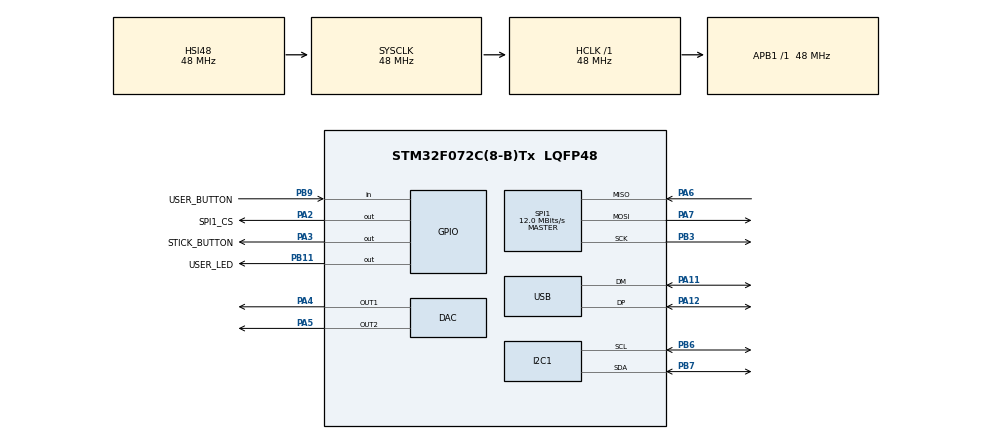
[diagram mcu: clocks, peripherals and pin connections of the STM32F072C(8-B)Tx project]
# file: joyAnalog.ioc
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I2C1.Timing=0x20303E5D
IWDG.Prescaler=IWDG_PRESCALER_16
Mcu.Family=STM32F0
Mcu.Name=STM32F072C(8-B)Tx
Mcu.Package=LQFP48
NVIC.USB_IRQn=true\:0\:0\:false\:false\:true
PA11.Mode=Device
PA11.Signal=USB_DM
PA12.Mode=Device
PA12.Signal=USB_DP
PA13.Mode=Serial_Wire
PA13.Signal=SYS_SWDIO
PA14.Mode=Serial_Wire
PA14.Signal=SYS_SWCLK
PA2.GPIO_Label=SPI1_CS
PA2.PinState=GPIO_PIN_SET
PA2.Signal=GPIO_Output
PA3.GPIO_Label=STICK_BUTTON
PA3.GPIO_ModeDefaultOutputPP=GPIO_MODE_OUTPUT_OD
PA3.PinState=GPIO_PIN_SET
PA3.Signal=GPIO_Output
PA4.Signal=COMP_DAC1_group
PA5.Signal=COMP_DAC2_group
PA6.GPIO_PuPd=GPIO_PULLUP
PA6.Mode=Full_Duplex_Master
PA6.Signal=SPI1_MISO
PA7.Mode=Full_Duplex_Master
PA7.Signal=SPI1_MOSI
PB11.GPIO_Label=USER_LED
PB11.PinState=GPIO_PIN_SET
PB11.Signal=GPIO_Output
PB3.Mode=Full_Duplex_Master
PB3.Signal=SPI1_SCK
PB6.Mode=I2C
PB6.Signal=I2C1_SCL
PB7.Mode=I2C
PB7.Signal=I2C1_SDA
PB9.GPIO_Label=USER_BUTTON
PB9.GPIO_PuPd=GPIO_PULLUP
PB9.Signal=GPIO_Input
ProjectManager.HeapSize=0x200
ProjectManager.StackSize=0x400
ProjectManager.TargetToolchain=MDK-ARM V5
RCC.AHBFreq_Value=48000000
RCC.APB1Freq_Value=48000000
RCC.APB1TimFreq_Value=48000000
RCC.HCLKFreq_Value=48000000
RCC.HSIState=RCC_HSI_ON
RCC.I2c1ClockSelection=RCC_I2C1CLKSOURCE_SYSCLK
RCC.OscillatorTypeHSI=RCC_OSCILLATORTYPE_HSI
RCC.PLLMUL=RCC_PLL_MUL6
RCC.RCC_PERIPHCLK_USART1Var=RCC_PERIPHCLK_USART1
RCC.SYSCLKFreq_VALUE=48000000
RCC.SYSCLKSource=RCC_SYSCLKSOURCE_HSI48
SH.COMP_DAC1_group.0=DAC_OUT1,DAC_OUT1
SH.COMP_DAC2_group.0=DAC_OUT2,DAC_OUT2
SPI1.BaudRatePrescaler=SPI_BAUDRATEPRESCALER_4
SPI1.CLKPhase=SPI_PHASE_2EDGE
SPI1.CalculateBaudRate=12.0 MBits/s
SPI1.DataSize=SPI_DATASIZE_8BIT
SPI1.Direction=SPI_DIRECTION_2LINES
SPI1.Mode=SPI_MODE_MASTER
SPI1.VirtualType=VM_MASTER
USB_DEVICE.CLASS_NAME_FS=CDC
USB_DEVICE.VirtualMode=Cdc
USB_DEVICE.VirtualModeFS=Cdc_FS
VP_IWDG_VS_IWDG.Mode=IWDG_Activate
VP_USB_DEVICE_VS_USB_DEVICE_CDC_FS.Mode=CDC_FS
board=joyAnalog

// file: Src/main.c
/**
  ******************************************************************************
  * File Name          : main.c
  * Description        : Main program body
  ******************************************************************************
  *
  * Copyright (c) 2017 STMicroelectronics International N.V.
  * All rights reserved.
  *
  * Redistribution and use in source and binary forms, with or without
  * modification, are permitted, provided that the following conditions are met:
  *
  * 1. Redistribution of source code must retain the above copyright notice,
  *    this list of conditions and the following disclaimer.
  * 2. Redistributions in binary form must reproduce the above copyright notice,
  *    this list of conditions and the following disclaimer in the documentation
  *    and/or other materials provided with the distribution.
  * 3. Neither the name of STMicroelectronics nor the names of other
  *    contributors to this software may be used to endorse or promote products
  *    derived from this software without specific written permission.
  * 4. This software, including modifications and/or derivative works of this
  *    software, must execute solely and exclusively on microcontroller or
  *    microprocessor devices manufactured by or for STMicroelectronics.
  * 5. Redistribution and use of this software other than as permitted under
  *    this license is void and will automatically terminate your rights under
  *    this license.
  *
  * THIS SOFTWARE IS PROVIDED BY STMICROELECTRONICS AND CONTRIBUTORS "AS IS"
  * AND ANY EXPRESS, IMPLIED OR STATUTORY WARRANTIES, INCLUDING, BUT NOT
  * LIMITED TO, THE IMPLIED WARRANTIES OF MERCHANTABILITY, FITNESS FOR A
  * PARTICULAR PURPOSE AND NON-INFRINGEMENT OF THIRD PARTY INTELLECTUAL PROPERTY
  * RIGHTS ARE DISCLAIMED TO THE FULLEST EXTENT PERMITTED BY LAW. IN NO EVENT
  * SHALL STMICROELECTRONICS OR CONTRIBUTORS BE LIABLE FOR ANY DIRECT, INDIRECT,
  * INCIDENTAL, SPECIAL, EXEMPLARY, OR CONSEQUENTIAL DAMAGES (INCLUDING, BUT NOT
  * LIMITED TO, PROCUREMENT OF SUBSTITUTE GOODS OR SERVICES; LOSS OF USE, DATA,
  * OR PROFITS; OR BUSINESS INTERRUPTION) HOWEVER CAUSED AND ON ANY THEORY OF
  * LIABILITY, WHETHER IN CONTRACT, STRICT LIABILITY, OR TORT (INCLUDING
  * NEGLIGENCE OR OTHERWISE) ARISING IN ANY WAY OUT OF THE USE OF THIS SOFTWARE,
  * EVEN IF ADVISED OF THE POSSIBILITY OF SUCH DAMAGE.
  *
  ******************************************************************************
  */
#include "main.h"
#include "stm32f0xx_hal.h"
#include "usb_device.h"

/* USER CODE BEGIN Includes */

#include "shared.h"
#include "my_usb.h"
#include "helpers.h"
#include "jc_ctrl.h"
#include "eeprom.h"
#include "cmd_parser.h"

/* USER CODE END Includes */

DAC_HandleTypeDef hdac;

I2C_HandleTypeDef hi2c1;

IWDG_HandleTypeDef hiwdg;

SPI_HandleTypeDef hspi1;

/* USER CODE BEGIN PV */
/* Private variables ---------------------------------------------------------*/
int32_t board_type, next_kick;
/* USER CODE END PV */

void SystemClock_Config(void);
void Error_Handler(void);
static void MX_GPIO_Init(void);
static void MX_I2C1_Init(void);
static void MX_SPI1_Init(void);
static void MX_IWDG_Init(void);

/* USER CODE BEGIN PFP */
/* Private function prototypes -----------------------------------------------*/
static void MX_DAC_Init(void);
/* USER CODE END PFP */

/* USER CODE BEGIN 0 */
void kick_dog(void)
{
  if(HAL_GetTick() > next_kick)
  {
    HAL_IWDG_Refresh(&hiwdg);
    next_kick = HAL_GetTick() + 500;
  }
}

void stm32_dac_init(void)
{
  MX_DAC_Init();
  HAL_DAC_Start(dac_ptr, DAC_CHANNEL_1);
  HAL_DAC_Start(dac_ptr, DAC_CHANNEL_2);
}

int fputc(int ch, FILE *f)
{
  my_usb_putchar((uint8_t)ch);
  return ch;
}
/* USER CODE END 0 */

int main(void)
{

  /* MCU Configuration----------------------------------------------------------*/

  /* Reset of all peripherals, Initializes the Flash interface and the Systick. */
  HAL_Init();

  /* Configure the system clock */
  SystemClock_Config();

  /* Initialize all configured peripherals */
  MX_GPIO_Init();
  MX_I2C1_Init();
  MX_SPI1_Init();
  MX_USB_DEVICE_Init();
  MX_IWDG_Init();

  /* USER CODE BEGIN 2 */
  my_usb_init();
  board_type = eeprom_read(EEPROM_BOARD_TYPE_ADDR);
  jc_ctrl_init();
  stick_release();
  for (int i = 0; i < 6; ++i)
  {
    HAL_GPIO_TogglePin(USER_LED_GPIO_Port, USER_LED_Pin);
    HAL_Delay(100);
  }
  /* USER CODE END 2 */

  /* Infinite loop */
  /* USER CODE BEGIN WHILE */

  while (1)
  {
    kick_dog();
  /* USER CODE END WHILE */

  /* USER CODE BEGIN 3 */
    usb_data = my_usb_readline();
    if(usb_data == NULL)
      continue;
    parse_cmd(usb_data);
  }
  /* USER CODE END 3 */

}

/** System Clock Configuration
*/
void SystemClock_Config(void)
{

  RCC_OscInitTypeDef RCC_OscInitStruct;
  RCC_ClkInitTypeDef RCC_ClkInitStruct;
  RCC_PeriphCLKInitTypeDef PeriphClkInit;

    /**Initializes the CPU, AHB and APB busses clocks
    */
  RCC_OscInitStruct.OscillatorType = RCC_OSCILLATORTYPE_HSI48
                              |RCC_OSCILLATORTYPE_LSI;
  RCC_OscInitStruct.HSI48State = RCC_HSI48_ON;
  RCC_OscInitStruct.LSIState = RCC_LSI_ON;
  RCC_OscInitStruct.PLL.PLLState = RCC_PLL_NONE;
  if (HAL_RCC_OscConfig(&RCC_OscInitStruct) != HAL_OK)
  {
    Error_Handler();
  }

    /**Initializes the CPU, AHB and APB busses clocks
    */
  RCC_ClkInitStruct.ClockType = RCC_CLOCKTYPE_HCLK|RCC_CLOCKTYPE_SYSCLK
                              |RCC_CLOCKTYPE_PCLK1;
  RCC_ClkInitStruct.SYSCLKSource = RCC_SYSCLKSOURCE_HSI48;
  RCC_ClkInitStruct.AHBCLKDivider = RCC_SYSCLK_DIV1;
  RCC_ClkInitStruct.APB1CLKDivider = RCC_HCLK_DIV1;

  if (HAL_RCC_ClockConfig(&RCC_ClkInitStruct, FLASH_LATENCY_1) != HAL_OK)
  {
    Error_Handler();
  }

  PeriphClkInit.PeriphClockSelection = RCC_PERIPHCLK_USB|RCC_PERIPHCLK_USART1
                              |RCC_PERIPHCLK_I2C1;
  PeriphClkInit.I2c1ClockSelection = RCC_I2C1CLKSOURCE_SYSCLK;
  PeriphClkInit.UsbClockSelection = RCC_USBCLKSOURCE_HSI48;

  if (HAL_RCCEx_PeriphCLKConfig(&PeriphClkInit) != HAL_OK)
  {
    Error_Handler();
  }

    /**Configure the Systick interrupt time
    */
  HAL_SYSTICK_Config(HAL_RCC_GetHCLKFreq()/1000);

    /**Configure the Systick
    */
  HAL_SYSTICK_CLKSourceConfig(SYSTICK_CLKSOURCE_HCLK);

  /* SysTick_IRQn interrupt configuration */
  HAL_NVIC_SetPriority(SysTick_IRQn, 0, 0);
}

/* DAC init function */
static void MX_DAC_Init(void)
{

  DAC_ChannelConfTypeDef sConfig;

    /**DAC Initialization
    */
  hdac.Instance = DAC;
  if (HAL_DAC_Init(&hdac) != HAL_OK)
  {
    Error_Handler();
  }

    /**DAC channel OUT1 config
    */
  sConfig.DAC_Trigger = DAC_TRIGGER_NONE;
  sConfig.DAC_OutputBuffer = DAC_OUTPUTBUFFER_ENABLE;
  if (HAL_DAC_ConfigChannel(&hdac, &sConfig, DAC_CHANNEL_1) != HAL_OK)
  {
    Error_Handler();
  }

    /**DAC channel OUT2 config
    */
  if (HAL_DAC_ConfigChannel(&hdac, &sConfig, DAC_CHANNEL_2) != HAL_OK)
  {
    Error_Handler();
  }

}

/* I2C1 init function */
static void MX_I2C1_Init(void)
{

  hi2c1.Instance = I2C1;
  hi2c1.Init.Timing = 0x20303E5D;
  hi2c1.Init.OwnAddress1 = 0;
  hi2c1.Init.AddressingMode = I2C_ADDRESSINGMODE_7BIT;
  hi2c1.Init.DualAddressMode = I2C_DUALADDRESS_DISABLE;
  hi2c1.Init.OwnAddress2 = 0;
  hi2c1.Init.OwnAddress2Masks = I2C_OA2_NOMASK;
  hi2c1.Init.GeneralCallMode = I2C_GENERALCALL_DISABLE;
  hi2c1.Init.NoStretchMode = I2C_NOSTRETCH_DISABLE;
  if (HAL_I2C_Init(&hi2c1) != HAL_OK)
  {
    Error_Handler();
  }

    /**Configure Analogue filter
    */
  if (HAL_I2CEx_ConfigAnalogFilter(&hi2c1, I2C_ANALOGFILTER_ENABLE) != HAL_OK)
  {
    Error_Handler();
  }

    /**Configure Digital filter
    */
  if (HAL_I2CEx_ConfigDigitalFilter(&hi2c1, 0) != HAL_OK)
  {
    Error_Handler();
  }

}

/* IWDG init function */
static void MX_IWDG_Init(void)
{

  hiwdg.Instance = IWDG;
  hiwdg.Init.Prescaler = IWDG_PRESCALER_16;
  hiwdg.Init.Window = 4095;
  hiwdg.Init.Reload = 4095;
  if (HAL_IWDG_Init(&hiwdg) != HAL_OK)
  {
    Error_Handler();
  }

}

/* SPI1 init function */
static void MX_SPI1_Init(void)
{

  hspi1.Instance = SPI1;
  hspi1.Init.Mode = SPI_MODE_MASTER;
  hspi1.Init.Direction = SPI_DIRECTION_2LINES;
  hspi1.Init.DataSize = SPI_DATASIZE_8BIT;
  hspi1.Init.CLKPolarity = SPI_POLARITY_LOW;
  hspi1.Init.CLKPhase = SPI_PHASE_2EDGE;
  hspi1.Init.NSS = SPI_NSS_SOFT;
  hspi1.Init.BaudRatePrescaler = SPI_BAUDRATEPRESCALER_4;
  hspi1.Init.FirstBit = SPI_FIRSTBIT_MSB;
  hspi1.Init.TIMode = SPI_TIMODE_DISABLE;
  hspi1.Init.CRCCalculation = SPI_CRCCALCULATION_DISABLE;
  hspi1.Init.CRCPolynomial = 7;
  hspi1.Init.CRCLength = SPI_CRC_LENGTH_DATASIZE;
  hspi1.Init.NSSPMode = SPI_NSS_PULSE_DISABLE;
  if (HAL_SPI_Init(&hspi1) != HAL_OK)
  {
    Error_Handler();
  }

}

/** Configure pins as
        * Analog
        * Input
        * Output
        * EVENT_OUT
        * EXTI
*/
static void MX_GPIO_Init(void)
{

  GPIO_InitTypeDef GPIO_InitStruct;

  /* GPIO Ports Clock Enable */
  __HAL_RCC_GPIOA_CLK_ENABLE();
  __HAL_RCC_GPIOB_CLK_ENABLE();

  /*Configure GPIO pin Output Level */
  HAL_GPIO_WritePin(GPIOA, SPI1_CS_Pin|STICK_BUTTON_Pin, GPIO_PIN_SET);

  /*Configure GPIO pin Output Level */
  HAL_GPIO_WritePin(USER_LED_GPIO_Port, USER_LED_Pin, GPIO_PIN_SET);

  /*Configure GPIO pin : SPI1_CS_Pin */
  GPIO_InitStruct.Pin = SPI1_CS_Pin;
  GPIO_InitStruct.Mode = GPIO_MODE_OUTPUT_PP;
  GPIO_InitStruct.Pull = GPIO_NOPULL;
  GPIO_InitStruct.Speed = GPIO_SPEED_FREQ_LOW;
  HAL_GPIO_Init(SPI1_CS_GPIO_Port, &GPIO_InitStruct);

  /*Configure GPIO pin : STICK_BUTTON_Pin */
  GPIO_InitStruct.Pin = STICK_BUTTON_Pin;
  GPIO_InitStruct.Mode = GPIO_MODE_OUTPUT_OD;
  GPIO_InitStruct.Pull = GPIO_NOPULL;
  GPIO_InitStruct.Speed = GPIO_SPEED_FREQ_LOW;
  HAL_GPIO_Init(STICK_BUTTON_GPIO_Port, &GPIO_InitStruct);

  /*Configure GPIO pin : USER_LED_Pin */
  GPIO_InitStruct.Pin = USER_LED_Pin;
  GPIO_InitStruct.Mode = GPIO_MODE_OUTPUT_PP;
  GPIO_InitStruct.Pull = GPIO_NOPULL;
  GPIO_InitStruct.Speed = GPIO_SPEED_FREQ_LOW;
  HAL_GPIO_Init(USER_LED_GPIO_Port, &GPIO_InitStruct);

  /*Configure GPIO pin : USER_BUTTON_Pin */
  GPIO_InitStruct.Pin = USER_BUTTON_Pin;
  GPIO_InitStruct.Mode = GPIO_MODE_INPUT;
  GPIO_InitStruct.Pull = GPIO_PULLUP;
  HAL_GPIO_Init(USER_BUTTON_GPIO_Port, &GPIO_InitStruct);

}

void Error_Handler(void)
{
  while(1)
  {
  }
}

/************************ (C) COPYRIGHT STMicroelectronics *****END OF FILE****/
